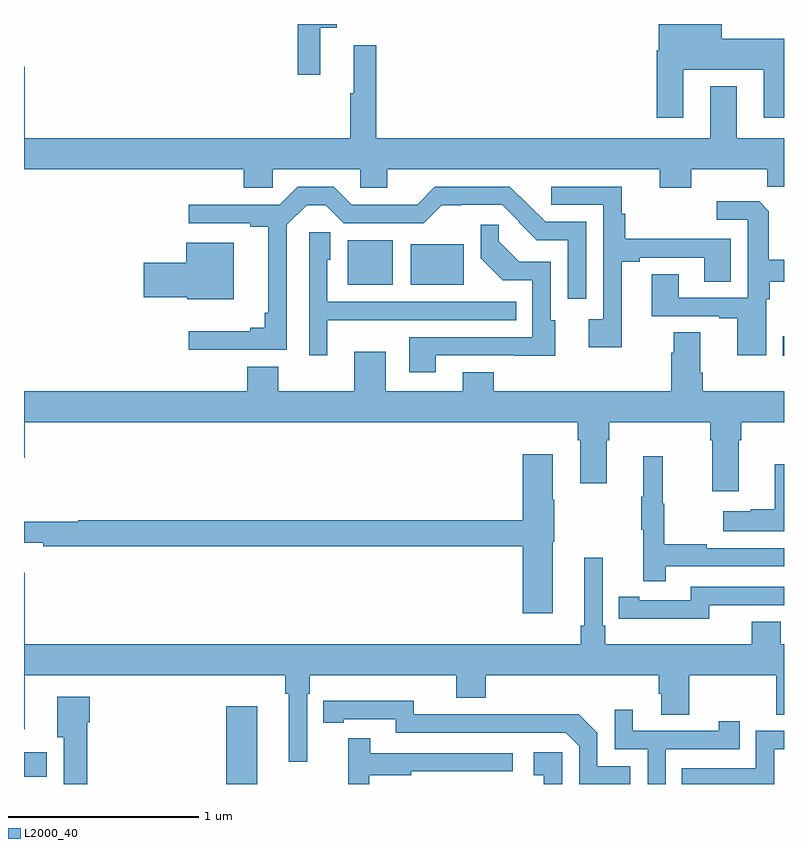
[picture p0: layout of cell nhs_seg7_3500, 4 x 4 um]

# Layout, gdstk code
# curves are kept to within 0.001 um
import gdstk
lib = gdstk.Library(unit=1e-6, precision=1e-09)
def R(c, l, rs):  # rectangles x0, y0, x1, y1
    for r in rs: c.add(gdstk.rectangle(r[:2], r[2:], *l))
def P(c, l, *ps):  # polygons
    for p in ps: c.add(gdstk.Polygon(p, *l))
L2000_40 = (2000, 40)

nhs_seg7_3500 = lib.new_cell('nhs_seg7_3500')
R(nhs_seg7_3500, L2000_40, [(334.064,1044,334.228,1044.409), (333,1044.038,333.121,1044.166), (336.993,1046.255,337,1046.357), (334.703,1046.627,334.942,1046.863), (335.036,1046.627,335.314,1046.842)])
P(nhs_seg7_3500, L2000_40, [(334.559,1047.98),(334.645,1047.98),(334.645,1048),(334.441,1048),(334.441,1047.732),(334.559,1047.732)],
  [(336.469,1047.758),(336.893,1047.758),(336.893,1047.507),(337,1047.507),(337,1047.922),(336.673,1047.922),(336.673,1048),(336.341,1048),(336.341,1047.862),(336.329,1047.862),(336.329,1047.507),(336.469,1047.507)],
  [(336.511,1047.236),(336.911,1047.236),(336.911,1047.143),(337,1047.143),(337,1047.4),(336.751,1047.4),(336.751,1047.673),(336.611,1047.673),(336.611,1047.4),(334.853,1047.4),(334.853,1047.889),(334.736,1047.889),(334.736,1047.636),(334.717,1047.636),(334.717,1047.4),(333.004,1047.4),(333.004,1047.775),(333,1047.775),(333,1047.236),(334.157,1047.236),(334.157,1047.138),(334.308,1047.138),(334.308,1047.236),(334.77,1047.236),(334.77,1047.138),(334.912,1047.138),(334.912,1047.236),(336.347,1047.236),(336.347,1047.137),(336.511,1047.137)],
  [(334.079,1046.286),(334.383,1046.286),(334.383,1046.943),(334.487,1047.047),(334.588,1047.047),(334.683,1046.952),(335.103,1046.952),(335.198,1047.047),(335.517,1047.048),(335.607,1046.958),(335.605,1046.956),(335.699,1046.862),(335.862,1046.862),(335.862,1046.555),(335.958,1046.555),(335.958,1046.958),(335.745,1046.958),(335.557,1047.144),(335.163,1047.144),(335.069,1047.05),(334.964,1047.05),(334.964,1047.048),(334.725,1047.048),(334.629,1047.144),(334.442,1047.144),(334.346,1047.048),(334.113,1047.048),(334.113,1047.05),(333.867,1047.05),(333.867,1046.952),(334.19,1046.952),(334.19,1046.932),(334.286,1046.932),(334.286,1046.479),(334.267,1046.479),(334.267,1046.402),(334.19,1046.402),(334.19,1046.383),(333.867,1046.383),(333.867,1046.285)],
  [(336.145,1046.749),(336.241,1046.749),(336.241,1046.769),(336.581,1046.769),(336.581,1046.644),(336.721,1046.644),(336.721,1046.87),(336.164,1046.87),(336.164,1047.002),(336.146,1047.002),(336.146,1047.144),(335.775,1047.144),(335.775,1047.048),(336.048,1047.048),(336.048,1046.446),(335.973,1046.446),(335.973,1046.298),(336.145,1046.298)],
  [(336.906,1046.552),(336.926,1046.552),(336.926,1046.644),(337,1046.644),(337,1046.758),(336.921,1046.758),(336.921,1047.015),(336.869,1047.067),(336.645,1047.067),(336.645,1046.97),(336.81,1046.97),(336.81,1046.559),(336.445,1046.559),(336.445,1046.684),(336.305,1046.684),(336.305,1046.463),(336.659,1046.463),(336.659,1046.451),(336.755,1046.451),(336.755,1046.256),(336.906,1046.256)],
  [(335.167,1046.256),(335.797,1046.255),(335.797,1046.442),(335.772,1046.442),(335.772,1046.748),(335.606,1046.748),(335.498,1046.856),(335.498,1046.944),(335.403,1046.944),(335.403,1046.768),(335.519,1046.652),(335.676,1046.652),(335.676,1046.352),(335.027,1046.352),(335.027,1046.166),(335.167,1046.166)],
  [(334.597,1046.441),(334.931,1046.441),(334.931,1046.442),(335.591,1046.442),(335.591,1046.538),(334.596,1046.538),(334.596,1046.76),(334.612,1046.76),(334.612,1046.903),(334.5,1046.903),(334.5,1046.256),(334.597,1046.256)],
  [(334.105,1046.848),(333.854,1046.848),(333.854,1046.744),(333.63,1046.744),(333.63,1046.561),(333.858,1046.561),(333.858,1046.552),(334.105,1046.552)],
  [(336.763,1045.808),(336.776,1045.808),(336.776,1045.904),(337,1045.904),(337,1046.068),(336.572,1046.068),(336.572,1046.164),(336.559,1046.164),(336.559,1046.378),(336.419,1046.378),(336.419,1046.27),(336.407,1046.27),(336.407,1046.068),(335.473,1046.068),(335.473,1046.167),(335.309,1046.167),(335.309,1046.068),(334.903,1046.068),(334.903,1046.275),(334.739,1046.275),(334.739,1046.068),(334.339,1046.068),(334.339,1046.197),(334.175,1046.197),(334.175,1046.068),(333,1046.068),(333,1045.716),(333.004,1045.716),(333.004,1045.904),(335.915,1045.904),(335.915,1045.808),(335.927,1045.808),(335.927,1045.584),(336.067,1045.584),(336.067,1045.808),(336.08,1045.808),(336.08,1045.904),(336.611,1045.904),(336.611,1045.808),(336.623,1045.808),(336.623,1045.542),(336.763,1045.542)],
  [(335.782,1045.275),(335.79,1045.275),(335.79,1045.496),(335.782,1045.496),(335.782,1045.735),(335.624,1045.735),(335.624,1045.388),(333.286,1045.388),(333.286,1045.381),(333,1045.381),(333,1045.271),(333.1,1045.271),(333.1,1045.252),(335.624,1045.252),(335.624,1044.9),(335.782,1044.9)],
  [(336.377,1045.146),(337,1045.146),(337,1045.242),(336.593,1045.242),(336.593,1045.262),(336.37,1045.262),(336.37,1045.476),(336.362,1045.476),(336.362,1045.726),(336.26,1045.726),(336.26,1045.513),(336.249,1045.513),(336.249,1045.339),(336.26,1045.339),(336.26,1045.068),(336.377,1045.068)],
  [(337,1045.684),(336.95,1045.684),(336.95,1045.445),(336.824,1045.445),(336.824,1045.435),(336.681,1045.435),(336.681,1045.331),(337,1045.331)],
  [(334.491,1044.476),(334.505,1044.476),(334.505,1044.572),(335.276,1044.572),(335.276,1044.455),(335.429,1044.455),(335.429,1044.572),(336.341,1044.572),(336.341,1044.474),(336.353,1044.474),(336.353,1044.364),(336.501,1044.364),(336.501,1044.572),(336.958,1044.572),(336.958,1044.364),(337,1044.364),(337,1044.736),(336.983,1044.736),(336.983,1044.853),(336.83,1044.853),(336.83,1044.736),(336.059,1044.736),(336.059,1044.832),(336.045,1044.832),(336.045,1045.192),(335.948,1045.192),(335.948,1044.832),(335.929,1044.832),(335.929,1044.736),(333.004,1044.736),(333.004,1045.111),(333,1045.111),(333,1044.288),(333.004,1044.288),(333.004,1044.572),(334.375,1044.572),(334.375,1044.476),(334.394,1044.476),(334.394,1044.117),(334.491,1044.117)],
  [(336.606,1044.942),(337,1044.942),(337,1045.038),(336.51,1045.038),(336.51,1044.966),(336.238,1044.966),(336.238,1044.986),(336.13,1044.986),(336.13,1044.87),(336.238,1044.87),(336.238,1044.869),(336.606,1044.869)],
  [(333.332,1044.324),(333.347,1044.324),(333.347,1044.46),(333.176,1044.46),(333.176,1044.246),(333.209,1044.246),(333.209,1044),(333.332,1044)],
  [(336.192,1044.093),(336.018,1044.093),(336.018,1044.27),(335.92,1044.368),(335.512,1044.368),(335.512,1044.366),(335.052,1044.366),(335.052,1044.439),(334.576,1044.438),(334.576,1044.322),(334.684,1044.322),(334.684,1044.342),(334.956,1044.342),(334.956,1044.27),(335.85,1044.27),(335.922,1044.198),(335.922,1044),(336.192,1044)],
  [(336.378,1044.183),(336.767,1044.183),(336.767,1044.331),(336.656,1044.331),(336.656,1044.279),(336.205,1044.279),(336.205,1044.391),(336.108,1044.391),(336.108,1044.183),(336.282,1044.183),(336.282,1044),(336.378,1044)],
  [(336.948,1044.183),(337,1044.183),(337,1044.279),(336.852,1044.279),(336.852,1044.084),(336.463,1044.084),(336.463,1044),(336.948,1044)],
  [(334.816,1044.046),(335.039,1044.046),(335.039,1044.066),(335.572,1044.066),(335.572,1044.162),(334.823,1044.162),(334.823,1044.241),(334.706,1044.241),(334.706,1044),(334.816,1044)],
  [(335.832,1044.166),(335.682,1044.166),(335.682,1044.045),(335.735,1044.045),(335.735,1044),(335.832,1044)])

lib.write_gds('nhs_seg7_3500.gds')
